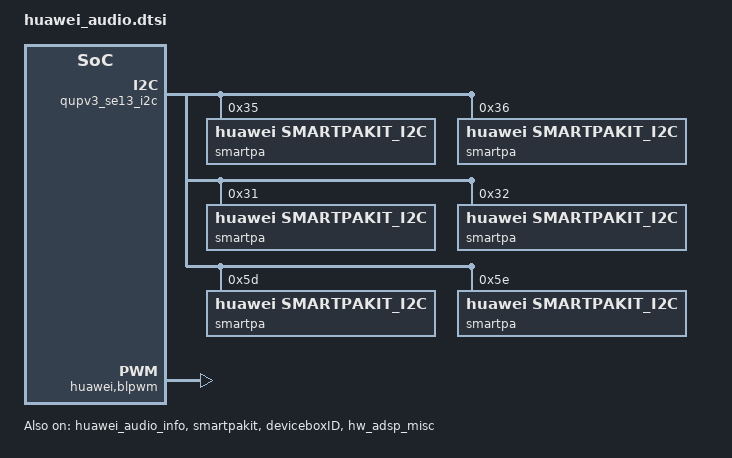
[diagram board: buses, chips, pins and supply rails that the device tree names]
&bolero {
	wcd938x-codec {
		qcom,cdc-micbias1-mv = <2700>;
		qcom,cdc-micbias2-mv = <2700>;
		qcom,cdc-micbias3-mv = <2700>;
		qcom,cdc-micbias4-mv = <2700>;
	};
};

&tlmm {
	smartpakit_irq_pins: smartpakit_irq_pins {
		smartpakit_irq_default: smartpakit_irq_default {
			mux {
				pins = "gpio15", "gpio179";
				function = "gpio";
			};

			config {
				pins = "gpio15", "gpio179";
				bias-pull-up;
				input-enable;
			};
		};
	};

	box_id_default: box_id_default {
		mux {
			pins = "gpio195";
			function = "gpio";
		};

		config {
			pins = "gpio195";
			bias-pull-up;
			drive-strength = <2>;   /* 2 MA */
		};
	};

	box_id_sleep: box_id_sleep {
		mux {
			pins = "gpio195";
			function = "gpio";
		};

		config {
			pins = "gpio195";
			bias-pull-down;
			drive-strength = <2>;   /* 2 MA */
		};
	};
};

&huawei_audio_info {
	compatible = "hw,hw_audio_info";
	product_identifier = "DRA";
	voice_vol_level = "10";
	pa_identifier = "smartpakit";
	smartpa_num = "2";
	speaker_test_content = "main_right_speaker,main_left_speaker";
	status = "ok";
	hardware_info {
		mic_num = "3";
		multi_mic_enable = "true";
		backmic_record_enable = "true";
		status = "ok";
		hostless_id_info {
			hostless_id_reset = "true";
			headset_rx_hostless_id = "30";
			hsmic_tx_hostless_id = "46";
		};
	};

	audio_channel_rotation_info {
		angle="270";
		rotation_support= "true";
	};
};

&qupv3_se13_i2c {
	#address-cells = <1>;
	#size-cells = <0>;
	status = "ok";

	smartpa@35 {
		compatible = "huawei,smartpakit_i2c";
		reg = <0x35>;
		/* 0 MAXIM, 1 NXP, 2 TI, 3 OTHER, 4:huawei customize */
		chip_vendor = <4>;
		/* refer to smartpakit.out_device prop */
		chip_id = <0>;
		chip_model = "01-02";
		status = "ok";

		/* reg_ctl node: a node contains three data<addr value ctl_type>
		* ctl_type: 0 read reg(default), 1 write reg, 2 only time delay
		* value:
		*     read:  reg number(num >= 1)
		*     write: reg value
		*     delay: time delay
		* time delay unit: msecs */
		version_regs = <0x03 1 0>;
		dump_regs = <0 256 0>;
		hw_reset {
			gpio_reset = <&tlmm 14 0>; // GPIO_14
			/* gpio_state node: a node contains two data<state delay>
			 * time delay unit: msecs */
			ctl_sequence = <1 1 0 1>;
		};
		irq_handler {
			gpio_irq = <&tlmm 15 0>; // GPIO_15
			/* 0x0 IRQF_TRIGGER_NONE, 0x1 IRQF_TRIGGER_RISING, 0x2 IRQF_TRIGGER_FALLING, 0x4 IRQF_TRIGGER_HIGH, 0x8 IRQF_TRIGGER_LOW*/
			irq_flags = <2>;
			/* whether or not need reset chip*/
			need_reset;
			rw_sequence = <
				0x10 1 0
				0x11 1 0
				0x13 1 0
				0x14 1 0
				0x40 1 0
				0x41 1 0
				0x42 1 0
			>;
		};

		regmap_cfg {
			reg_bits = <8>;
			val_bits = <16>;
			/* 0 REGCACHE_NONE, 1 REGCACHE_RBTREE, 2 REGCACHE_COMPRESSED, 3 REGCACHE_FLAT */
			cache_type = <0>;
			max_register = <0xff>;
			reg_defaults = <
				0x00 0x1801
				0x01 0x0014
			>;
		};
	};

	smartpa@36 {
		compatible = "huawei,smartpakit_i2c";
		reg = <0x36>;
		/* 0 MAXIM, 1 NXP, 2 TI, 3 OTHER, 4:huawei customize */
		chip_vendor = <4>;
		/* refer to smartpakit.out_device prop */
		chip_id = <1>;
		chip_model = "01-02";
		status = "ok";

		/* reg_ctl node: a node contains three data<addr value ctl_type>
		 * ctl_type: 0 read reg(default), 1 write reg, 2 only time delay
		 * value:
		 *     read:  reg number(num >= 1)
		 *     write: reg value
		 *     delay: time delay
		 * time delay unit: msecs */
		version_regs = <0x03 1 0>;
		dump_regs = <0 256 0>;
		hw_reset {
			gpio_reset = <&tlmm 178 0>; // GPIO_178
			/* gpio_state node: a node contains two data<state delay>
			 * time delay unit: msecs */
			ctl_sequence = <1 1 0 1>;
		};
		irq_handler {
			gpio_irq = <&tlmm 179 0>; // GPIO_179
			/* 0x0 IRQF_TRIGGER_NONE, 0x1 IRQF_TRIGGER_RISING, 0x2 IRQF_TRIGGER_FALLING, 0x4 IRQF_TRIGGER_HIGH, 0x8 IRQF_TRIGGER_LOW*/
			irq_flags = <2>;
			/* whether or not need reset chip*/
			need_reset;
			rw_sequence = <
				0x10 1 0
				0x11 1 0
				0x13 1 0
				0x14 1 0
				0x40 1 0
				0x41 1 0
				0x42 1 0
			>;
		};
		regmap_cfg {
			reg_bits = <8>;
			val_bits = <16>;
			/* 0 REGCACHE_NONE, 1 REGCACHE_RBTREE, 2 REGCACHE_COMPRESSED, 3 REGCACHE_FLAT */
			cache_type = <0>;
			max_register = <0xff>;
			reg_defaults = <
				0x00 0x1801
				0x01 0x0014
			>;
		};
	};

	smartpa@31{
		compatible = "huawei,smartpakit_i2c";
		reg = <0x31>;
		/* 0 MAXIM, 1 NXP, 2 TI, 3 OTHER, 4:huawei customize */
		chip_vendor = <4>;
		/* refer to smartpakit.out_device prop */
		chip_id = <0>;
		chip_model = "06-01";
		/* maybe trigger one irq after some chip reset, ext. tas2560
		 * debounce wait time unit: msecs */
		reset_debounce_wait_time = <200>;
		sync_irq_debounce_time;
		status = "ok";

		/* reg_ctl node: a node contains three data<addr value ctl_type>
		 * ctl_type: 0 read reg(default), 1 write reg, 2 only time delay
		 * value:
		 *     read:  reg number(num >= 1)
		 *     write: reg value
		 *     delay: time delay
		 * time delay unit: msecs */
		version_regs = <0x00 1 0>;
		dump_regs = <0 256 0>;
		hw_reset {
			gpio_reset = <&tlmm 14 0>; // GPIO_014
			/* gpio_state node: a node contains two data<state delay>
			 * time delay unit: msecs */
			ctl_sequence = <0 1 1 1>;
		};
		irq_handler {
			gpio_irq = <&tlmm 15 0>; // GPIO_015
			/* 0x0 IRQF_TRIGGER_NONE, 0x1 IRQF_TRIGGER_RISING, 0x2 IRQF_TRIGGER_FALLING, 0x4 IRQF_TRIGGER_HIGH, 0x8 IRQF_TRIGGER_LOW*/
			irq_flags = <2>;
			/* whether or not need reset chip*/
			need_reset;
			rw_sequence = <
				0x00 8 0
				0x09 5 0
				0x12 3 0
				0x60 2 0
				0x78 1 0
				0x7a 1 0
			>;
		};
		regmap_cfg {
			reg_bits = <8>;
			val_bits = <16>;
			/* 0 REGCACHE_NONE, 1 REGCACHE_RBTREE, 2 REGCACHE_COMPRESSED, 3 REGCACHE_FLAT */
			cache_type = <0>;
			max_register = <0xff>;
		};
	};

	smartpa@32{
		compatible = "huawei,smartpakit_i2c";
		reg = <0x32>;
		/* 0 MAXIM, 1 NXP, 2 TI, 3 OTHER, 4:huawei customize */
		chip_vendor = <4>;
		/* refer to smartpakit.out_device prop */
		chip_id = <1>;
		chip_model = "06-01";
		/* maybe trigger one irq after some chip reset, ext. tas2560
		 * debounce wait time unit: msecs */
		reset_debounce_wait_time = <200>;
		sync_irq_debounce_time;
		status = "ok";

		/* reg_ctl node: a node contains three data<addr value ctl_type>
		 * ctl_type: 0 read reg(default), 1 write reg, 2 only time delay
		 * value:
		 *     read:  reg number(num >= 1)
		 *     write: reg value
		 *     delay: time delay
		 * time delay unit: msecs */
		version_regs = <0x00 1 0>;
		dump_regs = <0 256 0>;
		hw_reset {
			gpio_reset = <&tlmm 178 0>; // GPIO_178
			/* gpio_state node: a node contains two data<state delay>
			 * time delay unit: msecs */
			ctl_sequence = <0 1 1 1>;
		};
		irq_handler {
			gpio_irq = <&tlmm 179 0>; // GPIO_179
			/* 0x0 IRQF_TRIGGER_NONE, 0x1 IRQF_TRIGGER_RISING, 0x2 IRQF_TRIGGER_FALLING, 0x4 IRQF_TRIGGER_HIGH, 0x8 IRQF_TRIGGER_LOW*/
			irq_flags = <2>;
			/* whether or not need reset chip*/
			need_reset;
			rw_sequence = <
				0x00 8 0
				0x09 5 0
				0x12 3 0
				0x60 2 0
				0x78 1 0
				0x7a 1 0
			>;
		};
		regmap_cfg {
			reg_bits = <8>;
			val_bits = <16>;
			/* 0 REGCACHE_NONE, 1 REGCACHE_RBTREE, 2 REGCACHE_COMPRESSED, 3 REGCACHE_FLAT */
			cache_type = <0>;
			max_register = <0xff>;
		};
	};

	smartpa@5D{
		compatible = "huawei,smartpakit_i2c";
		reg = <0x5D>;
		/* 4:huawei customize */
		chip_vendor = <4>;
		/* refer to smartpakit.out_device prop */
		chip_id = <0>;
		chip_model = "05-01";
		reset_debounce_wait_time = <100>;
		status = "ok";

		/* reg_ctl node: a node contains three data<addr value ctl_type>
		 * ctl_type: 0 read reg(default), 1 write reg, 2 only time delay
		 * value:
		 *     read:  reg number(num >= 1)
		 *     write: reg value
		 *     delay: time delay
		 * time delay unit: msecs */
		version_regs = <0x03 1 0>;
		dump_regs = <0 256 0>;
		hw_reset {
			gpio_reset = <&tlmm 14 0>; // GPIO_014
			/* gpio_state node: a node contains two data<state delay>
			 * time delay unit: msecs */
			ctl_sequence = <0 1 1 1>;
		};
		irq_handler {
			gpio_irq = <&tlmm 15 0>; // GPIO_015
			/* 0x0 IRQF_TRIGGER_NONE, 0x1 IRQF_TRIGGER_RISING, 0x2 IRQF_TRIGGER_FALLING, 0x4 IRQF_TRIGGER_HIGH, 0x8 IRQF_TRIGGER_LOW */
			irq_flags = <2>;
			/* whether or not need reset chip */
			need_reset;
			rw_sequence = <
				0x01 1 0
				0x05 1 0
				0x09 1 0
				0x03 6 1 // mute chip
			>;
		};
		regmap_cfg {
			reg_bits = <8>;
			val_bits = <16>;
			/* 0 REGCACHE_NONE, 1 REGCACHE_RBTREE, 2 REGCACHE_COMPRESSED, 3 REGCACHE_FLAT */
			cache_type = <0>;
			max_register = <0xff>;
		};
	};

	smartpa@5E{
		compatible = "huawei,smartpakit_i2c";
		reg = <0x5E>;
		/* 4:huawei customize */
		chip_vendor = <4>;
		/* refer to smartpakit.out_device prop */
		chip_id = <1>;
		chip_model = "05-01";
		reset_debounce_wait_time = <100>;
		status = "ok";

		/* reg_ctl node: a node contains three data<addr value ctl_type>
		 * ctl_type: 0 read reg(default), 1 write reg, 2 only time delay
		 * value:
		 *     read:  reg number(num >= 1)
		 *     write: reg value
		 *     delay: time delay
		 * time delay unit: msecs */
		version_regs = <0x03 1 0>;
		dump_regs = <0 256 0>;
		hw_reset {
			gpio_reset = <&tlmm 178 0>; // GPIO_178
			/* gpio_state node: a node contains two data<state delay>
			 * time delay unit: msecs */
			ctl_sequence = <0 1 1 1>;
		};
		irq_handler {
			gpio_irq = <&tlmm 179 0>; // GPIO_179
			/* 0x0 IRQF_TRIGGER_NONE, 0x1 IRQF_TRIGGER_RISING, 0x2 IRQF_TRIGGER_FALLING, 0x4 IRQF_TRIGGER_HIGH, 0x8 IRQF_TRIGGER_LOW */
			irq_flags = <2>;
			/* whether or not need reset chip */
			need_reset;
			rw_sequence = <
				0x01 1 0
				0x05 1 0
				0x09 1 0
				0x03 6 1 // mute chip
			>;
		};
		regmap_cfg {
			reg_bits = <8>;
			val_bits = <16>;
			/* 0 REGCACHE_NONE, 1 REGCACHE_RBTREE, 2 REGCACHE_COMPRESSED, 3 REGCACHE_FLAT */
			cache_type = <0>;
			max_register = <0xff>;
		};
	};

};

&smartpakit {
	compatible = "huawei,smartpakit";
	/* 0 hisi, 1 qcom */
	soc_platform = <1>;
	/* algo running on: 0 codec_dsp, 1 soc_dsp, 2 smartpa_dsp, 3 simple pa(not smpartpa), 4 simple pa(with i2c) */
	algo_in = <1>;
	/* algo_in params need match out_device for smartpa.
	 * Now, up to only support eight pa, so out_device = <0 0 0 0 0 0 0 0>;
	 * 1. This array is arranged in the following order:
	 *    <0 1 2 3>
	 *    <pril prir secl secr>
	 * 2. This array element value is 0 or 1:
	 *    smartpa: 0 speaker, 1 receiver
	 *    simple pa: out_device not applicable, only set 0 to indicate pa_num
	 * 3. The length of this array is variable, for example:
	 *    single pa: out_device = <0>;
	 *    two pa: out_device = <0 0>;
	 *    four pa: out_device = <1 1 0 0>;
	 *    eight pa: out_device = <0 0 0 0 0 0 0 0>; */
	out_device = <0 1>;
	/* param_version: 1 mixed smartpa param support */
	param_version = <1>;
	special_name_config = "smartpa_dual_spk_playback";
	cali_data_update_mode = <1>;
	status = "ok";

	smartpakit_irq_pinctrl;
	pinctrl-names = "default";
	pinctrl-0 = <&smartpakit_irq_default>;
};

&deviceboxID {
	compatible = "huawei,deviceboxID";
	status = "ok";
	box_num = <1>;
	check_mode = "gpio";			/* check mode use gpio */
	enable_boxID = <1 0 0 0>;		/* enable 1 speaker */
	gpio_num = <1 0 0 0>;			/* each box has one id gpio */
	speaker_map = <5 1 2>;                  /* 1:"AAC", 2:"GEER", 3:"GD", 4:"LC", 5:"LX ", 6:"XW ", 7:"SSI " */
	/*speaker ID GPIO configure*/
	gpio_speakerID = <&tlmm 195 0>;
	pinctrl-names = "default", "idle";
	pinctrl-0 = <&box_id_default>;
	pinctrl-1 = <&box_id_sleep>;
	deviceboxID_limit = <500>;
};

&hw_adsp_misc {
	compatible = "hw,hw_adsp_misc";
	rx_port_id = <0x1016>;
	tx_port_id = <0x1017>;
	smartpa_num = <2>;
	status = "ok";

	tfa_smartamp: tfa_smartamp@0{
                compatible = "huawei,tfa_smartamp";
                algo_control_need = <0>;
                status = "ok";
        };

        awinic_smartamp: awinic_smartamp@0{
                compatible = "huawei,awinic_smartamp";
                algo_control_need = <0>;
                status = "ok";
        };

	customize_smartamp: customize_smartamp@0{
                compatible = "huawei,customize_smartamp";
                algo_control_need = <0>;
                status = "ok";
        };
};

&soc {
	qcom,pmic_glink {
		huawei,blpwm {
			compatible = "huawei,blpwm";
			status = "ok";
		};
	};
};
